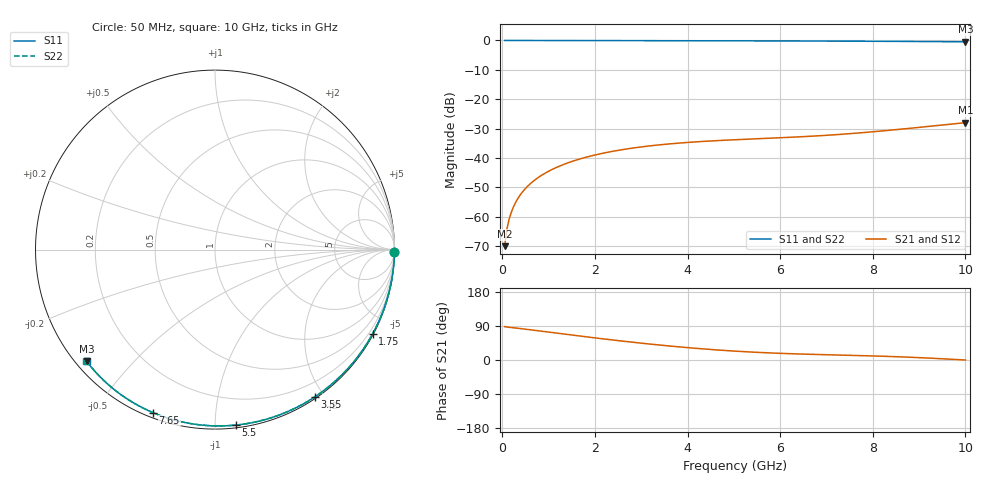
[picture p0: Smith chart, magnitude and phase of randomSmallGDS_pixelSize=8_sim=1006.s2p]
! freq	dB(S11)	phase(S11)	dB(S12)	phase(S12)
!  dB(S21)	phase(S21)	dB(S22)	phase(S22)
!S-par simulation data
#  GHz  S  DB  R 50
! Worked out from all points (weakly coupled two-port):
!   200 points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, 50 MHz to 10 GHz, reference 50 ohm
!   highest |S21| = -27.99 dB at 10 GHz (marker M1); lowest = -70.0 dB at 50 MHz (marker M2)
!   lowest |S11| = -0.5 dB at 10 GHz (marker M3), VSWR 37.68, Z = 1.51 - j18.7 ohm
!   |S11| at or under -10 dB: nowhere
!   |S22| runs from -0.5 to 0.0 dB; largest |S21 - S12| = 0
!   S11 on the Smith chart (normalised r, x): 50 MHz: open; 1.75 GHz: 0.03, -3.98; 3.55 GHz: 0.02, -1.89; 5.5 GHz: 0.02, -1.13; 7.65 GHz: 0.02, -0.69; 10 GHz: 0.03, -0.37
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0.05  -0.00 -0.8  -70.04 88.1  -70.04 88.1  -0.00 -0.8
0.1  -0.00 -1.6  -64.14 87.0  -64.14 87.0  -0.00 -1.6
0.15  -0.00 -2.5  -60.70 86.3  -60.70 86.3  -0.00 -2.5
0.2  -0.00 -3.3  -58.25 85.6  -58.25 85.6  -0.00 -3.3
0.25  -0.00 -4.1  -56.35 84.9  -56.35 84.9  -0.00 -4.1
0.35  -0.00 -5.7  -53.47 83.5  -53.47 83.5  -0.00 -5.7
0.5  -0.01 -8.2  -50.41 81.3  -50.41 81.3  -0.01 -8.2
0.7  -0.01 -11.4  -47.53 78.3  -47.53 78.3  -0.01 -11.4
1  -0.02 -16.3  -44.53 73.6  -44.53 73.6  -0.02 -16.3
1.35  -0.03 -21.9  -42.06 68.2  -42.06 68.2  -0.03 -21.9
1.75  -0.04 -28.2  -40.01 62.1  -40.01 62.1  -0.04 -28.2
2.5  -0.05 -39.9  -37.42 51.2  -37.42 51.2  -0.05 -39.9
3.4  -0.07 -53.5  -35.53 39.4  -35.53 39.4  -0.07 -53.6
3.55  -0.08 -55.7  -35.30 37.6  -35.30 37.6  -0.08 -55.8
4.3  -0.09 -66.6  -34.40 29.6  -34.40 29.6  -0.09 -66.7
5.05  -0.12 -77.1  -33.78 23.2  -33.78 23.2  -0.12 -77.2
5.5  -0.13 -83.2  -33.47 20.2  -33.47 20.2  -0.14 -83.3
6.7  -0.19 -99.0  -32.58 14.8  -32.58 14.8  -0.19 -99.0
7.65  -0.25 -110.8  -31.56 11.9  -31.56 11.9  -0.25 -110.9
8.35  -0.30 -119.4  -30.59 9.4  -30.59 9.4  -0.30 -119.4
9.2  -0.38 -129.5  -29.28 5.1  -29.28 5.1  -0.38 -129.6
10  -0.46 -139.0  -27.99 -0.0  -27.99 -0.0  -0.46 -139.1
